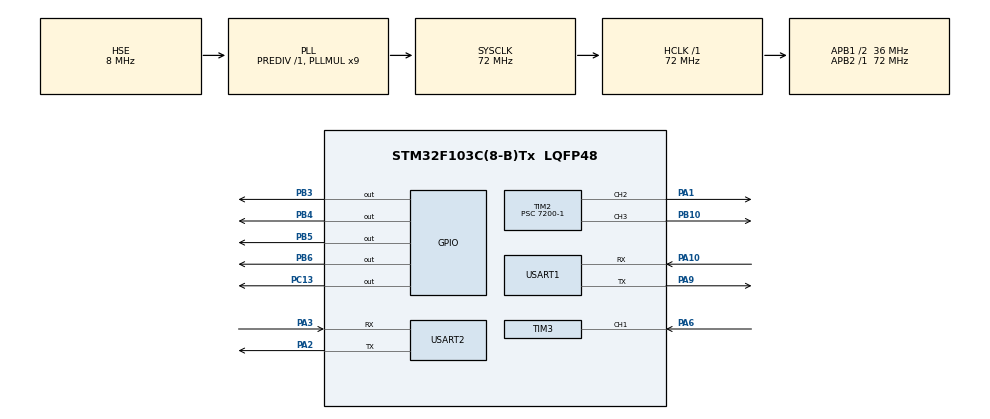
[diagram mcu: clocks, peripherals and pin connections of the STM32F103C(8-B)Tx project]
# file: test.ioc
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Dma.Request0=USART1_TX
Dma.Request1=USART1_RX
Dma.Request2=USART2_RX
Dma.Request3=USART2_TX
Dma.USART1_RX.1.Direction=DMA_PERIPH_TO_MEMORY
Dma.USART1_RX.1.Instance=DMA1_Channel5
Dma.USART1_RX.1.MemDataAlignment=DMA_MDATAALIGN_BYTE
Dma.USART1_RX.1.MemInc=DMA_MINC_ENABLE
Dma.USART1_RX.1.Mode=DMA_NORMAL
Dma.USART1_RX.1.PeriphDataAlignment=DMA_PDATAALIGN_BYTE
Dma.USART1_RX.1.PeriphInc=DMA_PINC_DISABLE
Dma.USART1_RX.1.Priority=DMA_PRIORITY_LOW
Dma.USART1_TX.0.Direction=DMA_MEMORY_TO_PERIPH
Dma.USART1_TX.0.Instance=DMA1_Channel4
Dma.USART1_TX.0.MemDataAlignment=DMA_MDATAALIGN_BYTE
Dma.USART1_TX.0.MemInc=DMA_MINC_ENABLE
Dma.USART1_TX.0.Mode=DMA_NORMAL
Dma.USART1_TX.0.PeriphDataAlignment=DMA_PDATAALIGN_BYTE
Dma.USART1_TX.0.PeriphInc=DMA_PINC_DISABLE
Dma.USART1_TX.0.Priority=DMA_PRIORITY_LOW
Dma.USART2_RX.2.Direction=DMA_PERIPH_TO_MEMORY
Dma.USART2_RX.2.Instance=DMA1_Channel6
Dma.USART2_RX.2.MemDataAlignment=DMA_MDATAALIGN_BYTE
Dma.USART2_RX.2.MemInc=DMA_MINC_ENABLE
Dma.USART2_RX.2.Mode=DMA_NORMAL
Dma.USART2_RX.2.PeriphDataAlignment=DMA_PDATAALIGN_BYTE
Dma.USART2_RX.2.PeriphInc=DMA_PINC_DISABLE
Dma.USART2_RX.2.Priority=DMA_PRIORITY_LOW
Dma.USART2_TX.3.Direction=DMA_MEMORY_TO_PERIPH
Dma.USART2_TX.3.Instance=DMA1_Channel7
Dma.USART2_TX.3.MemDataAlignment=DMA_MDATAALIGN_BYTE
Dma.USART2_TX.3.MemInc=DMA_MINC_ENABLE
Dma.USART2_TX.3.Mode=DMA_NORMAL
Dma.USART2_TX.3.PeriphDataAlignment=DMA_PDATAALIGN_BYTE
Dma.USART2_TX.3.PeriphInc=DMA_PINC_DISABLE
Dma.USART2_TX.3.Priority=DMA_PRIORITY_LOW
Mcu.Family=STM32F1
Mcu.Name=STM32F103C(8-B)Tx
Mcu.Package=LQFP48
NVIC.DMA1_Channel4_IRQn=true\:0\:0\:false\:false\:true\:false\:true
NVIC.DMA1_Channel5_IRQn=true\:0\:0\:false\:false\:true\:false\:true
NVIC.DMA1_Channel6_IRQn=true\:0\:0\:false\:false\:true\:false\:true
NVIC.DMA1_Channel7_IRQn=true\:0\:0\:false\:false\:true\:false\:true
NVIC.PriorityGroup=NVIC_PRIORITYGROUP_4
NVIC.TIM3_IRQn=true\:0\:0\:false\:false\:true\:true\:true
NVIC.USART1_IRQn=true\:0\:0\:false\:false\:true\:true\:true
NVIC.USART2_IRQn=true\:0\:0\:false\:false\:true\:true\:true
PA1.Signal=S_TIM2_CH2
PA10.Mode=Asynchronous
PA10.Signal=USART1_RX
PA13.Mode=Serial_Wire
PA13.Signal=SYS_JTMS-SWDIO
PA14.Mode=Serial_Wire
PA14.Signal=SYS_JTCK-SWCLK
PA2.Mode=Asynchronous
PA2.Signal=USART2_TX
PA3.Mode=Asynchronous
PA3.Signal=USART2_RX
PA6.Signal=S_TIM3_CH1
PA9.Mode=Asynchronous
PA9.Signal=USART1_TX
PB10.Signal=S_TIM2_CH3
PB3.PinState=GPIO_PIN_SET
PB3.Signal=GPIO_Output
PB4.PinState=GPIO_PIN_SET
PB4.Signal=GPIO_Output
PB5.PinState=GPIO_PIN_SET
PB5.Signal=GPIO_Output
PB6.PinState=GPIO_PIN_SET
PB6.Signal=GPIO_Output
PC13-TAMPER-RTC.Signal=GPIO_Output
PD0-OSC_IN.Mode=HSE-External-Oscillator
PD0-OSC_IN.Signal=RCC_OSC_IN
PD1-OSC_OUT.Mode=HSE-External-Oscillator
PD1-OSC_OUT.Signal=RCC_OSC_OUT
ProjectManager.HeapSize=0x200
ProjectManager.StackSize=0x400
ProjectManager.TargetToolchain=MDK-ARM V5.32
RCC.AHBFreq_Value=72000000
RCC.APB1CLKDivider=RCC_HCLK_DIV2
RCC.APB1Freq_Value=36000000
RCC.APB1TimFreq_Value=72000000
RCC.APB2Freq_Value=72000000
RCC.APB2TimFreq_Value=72000000
RCC.HCLKFreq_Value=72000000
RCC.PLLMUL=RCC_PLL_MUL9
RCC.PLLSourceVirtual=RCC_PLLSOURCE_HSE
RCC.SYSCLKFreq_VALUE=72000000
RCC.SYSCLKSource=RCC_SYSCLKSOURCE_PLLCLK
RCC.USBFreq_Value=72000000
SH.S_TIM2_CH2.0=TIM2_CH2,PWM Generation2 CH2
SH.S_TIM2_CH3.0=TIM2_CH3,PWM Generation3 CH3
SH.S_TIM3_CH1.0=TIM3_CH1,Input_Capture1_from_TI1
TIM2.AutoReloadPreload=TIM_AUTORELOAD_PRELOAD_ENABLE
TIM2.Channel-PWM\ Generation2\ CH2=TIM_CHANNEL_2
TIM2.Channel-PWM\ Generation3\ CH3=TIM_CHANNEL_3
TIM2.Period=50
TIM2.Prescaler=7200-1
TIM2.Pulse-PWM\ Generation3\ CH3=0
TIM3.AutoReloadPreload=TIM_AUTORELOAD_PRELOAD_ENABLE
TIM3.Channel-Input_Capture1_from_TI1=TIM_CHANNEL_1
TIM3.ICFilter_CH1=0x03
TIM3.Period=0xFFFF
TIM3.Prescaler=72-1
USART1.VirtualMode=VM_ASYNC
USART2.VirtualMode=VM_ASYNC
VP_TIM2_VS_ClockSourceINT.Mode=Internal
VP_TIM3_VS_ClockSourceINT.Mode=Internal
board=custom

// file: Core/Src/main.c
/* USER CODE BEGIN Header */
/**
  ******************************************************************************
  * @file           : main.c
  * @brief          : Main program body
  ******************************************************************************
  * @attention
  *
  * <h2><center>&copy; Copyright (c) 2022 STMicroelectronics.
  * All rights reserved.</center></h2>
  *
  * This software component is licensed by ST under BSD 3-Clause license,
  * the "License"; You may not use this file except in compliance with the
  * License. You may obtain a copy of the License at:
  *                        opensource.org/licenses/BSD-3-Clause
  *
  ******************************************************************************
  */
/* USER CODE END Header */
#include "main.h"
#include "dma.h"
#include "tim.h"
#include "usart.h"
#include "gpio.h"

/* USER CODE BEGIN Includes */
#include "stdio.h"
#include "stdlib.h"
#include "string.h"
#include "car.h"
#include "cmd.h"
#include "esp.h"
#include "ir.h"
/* USER CODE END Includes */

/* USER CODE BEGIN PTD */

#define REMOTE_ID 0

/* USER CODE END PTD */

/* USER CODE BEGIN PV */
	uint8_t uart2_rx[]={0};
	uint8_t value1[100]={0};

	uint32_t temp = 0;//用于接收数据

	uint16_t i =0;
/* USER CODE END PV */

void SystemClock_Config(void);

/* USER CODE BEGIN 0 */
void uartcall(void);
uint8_t Remote_Scan(void);

//void Usart_Cont1(void);
/* USER CODE END 0 */

int main(void)
{

  /* MCU Configuration--------------------------------------------------------*/

  /* Reset of all peripherals, Initializes the Flash interface and the Systick. */
  HAL_Init();

  /* Configure the system clock */
  SystemClock_Config();

  /* Initialize all configured peripherals */
  MX_GPIO_Init();
  MX_USART1_UART_Init();
  MX_TIM2_Init();
  MX_DMA_Init();
  MX_USART2_UART_Init();
  MX_TIM3_Init();
  /* USER CODE BEGIN 2 */
  //HAL_UART_Transmit(&huart1,(uint8_t *)"hello",6,1000);
	//HAL_UART_Transmit(&huart2,(uint8_t *)"hello",6,1000);
	printf("STM32rebotcar");

	HAL_TIM_PWM_Start(&htim2, TIM_CHANNEL_2);
	HAL_TIM_PWM_Start(&htim2, TIM_CHANNEL_3);
	HAL_GPIO_TogglePin(GPIOC,GPIO_PIN_13);

		HAL_TIM_Base_Start_IT(&htim3);
	HAL_TIM_IC_Start_IT(&htim3,TIM_CHANNEL_1);
	__HAL_TIM_ENABLE_IT(&htim3, TIM_IT_UPDATE);

	__HAL_UART_ENABLE_IT(&huart1, UART_IT_IDLE);
	HAL_UART_Receive_DMA(&huart1,uart1_rx_buffer,BUFFER_SIZE);

	__HAL_UART_ENABLE_IT(&huart2, UART_IT_IDLE);
	HAL_UART_Receive_DMA(&huart2,uart2_rx_buffer,BUFFER_SIZE);

				int pwm_val=1000;

  /* USER CODE END 2 */

  /* Infinite loop */
  while (1)
  {

    /* USER CODE BEGIN 3 */

		if (IR_Scanf(&temp))
		{
			printf("%#X\r\n", temp);
		}
		switch(temp)	{
			case ir1:
				MotorControl(3,1000,1000);
				temp=0;
			break;

			case ir2:
				MotorControl(0,1000,1000);
			temp=0;
			break;

			case ir3:
				MotorControl(2,1000,1000);
			temp=0;
			break;

			case ir5:
				MotorControl(4,1000,1000);
			temp=0;
			break;

			case ir7:
				MotorControl(5,1000,1000);
			temp=0;
			break;

			case ir8:
				MotorControl(1,1000,1000);
			temp=0;
			break;

			case ir9:
				MotorControl(6,1000,1000);
			temp=0;
			break;

			case ir4:
        pwm_val=pwm_val-100;
				MotorControl(2,pwm_val,pwm_val);
			temp=0;
			break;
			case ir6:
        pwm_val=pwm_val+100;
				MotorControl(3,pwm_val,pwm_val);
			temp=0;
			break;
			default:
				break;
		}

	/*

		for(i=0;i<1;i++)
	{
		while(!(USART1->SR & (1<<5))){};
		value1[i]=USART1->DR;
	}
			printf("%s",value1);
      if(value1[0] == 0x67)																//g
      {
								HAL_GPIO_TogglePin(GPIOC,GPIO_PIN_13);
				MotorControl(0,1000,1000);
			}
			else if(value1[0] == 0x62)									//b
       {
								HAL_GPIO_TogglePin(GPIOC,GPIO_PIN_13);
					MotorControl(1,1000,1000);
        }
       else if(value1[0] == 0x72)									//r
       {				HAL_GPIO_TogglePin(GPIOC,GPIO_PIN_13);
					MotorControl(2,1000,1000);
        }
			 else if(value1[0] == 0x6c)									//l
       {				HAL_GPIO_TogglePin(GPIOC,GPIO_PIN_13);
					MotorControl(3,1000,1000);
        }
			 else if(value1[0] == 0x73)									//s
       {				HAL_GPIO_TogglePin(GPIOC,GPIO_PIN_13);
					MotorControl(4,0,0);
        }
			 memset(value1, 0, sizeof(value1));
 */

	}

  /* USER CODE END 3 */
}

void SystemClock_Config(void)
{
  RCC_OscInitTypeDef RCC_OscInitStruct = {0};
  RCC_ClkInitTypeDef RCC_ClkInitStruct = {0};

  /** Initializes the RCC Oscillators according to the specified parameters
  * in the RCC_OscInitTypeDef structure.
  */
  RCC_OscInitStruct.OscillatorType = RCC_OSCILLATORTYPE_HSE;
  RCC_OscInitStruct.HSEState = RCC_HSE_ON;
  RCC_OscInitStruct.HSEPredivValue = RCC_HSE_PREDIV_DIV1;
  RCC_OscInitStruct.HSIState = RCC_HSI_ON;
  RCC_OscInitStruct.PLL.PLLState = RCC_PLL_ON;
  RCC_OscInitStruct.PLL.PLLSource = RCC_PLLSOURCE_HSE;
  RCC_OscInitStruct.PLL.PLLMUL = RCC_PLL_MUL9;
  if (HAL_RCC_OscConfig(&RCC_OscInitStruct) != HAL_OK)
  {
    Error_Handler();
  }
  /** Initializes the CPU, AHB and APB buses clocks
  */
  RCC_ClkInitStruct.ClockType = RCC_CLOCKTYPE_HCLK|RCC_CLOCKTYPE_SYSCLK
                              |RCC_CLOCKTYPE_PCLK1|RCC_CLOCKTYPE_PCLK2;
  RCC_ClkInitStruct.SYSCLKSource = RCC_SYSCLKSOURCE_PLLCLK;
  RCC_ClkInitStruct.AHBCLKDivider = RCC_SYSCLK_DIV1;
  RCC_ClkInitStruct.APB1CLKDivider = RCC_HCLK_DIV2;
  RCC_ClkInitStruct.APB2CLKDivider = RCC_HCLK_DIV1;

  if (HAL_RCC_ClockConfig(&RCC_ClkInitStruct, FLASH_LATENCY_2) != HAL_OK)
  {
    Error_Handler();
  }
}

/* USER CODE BEGIN 4 */
/*void uartcall()
{
	uint8_t value1[3]={0};
	uint8_t i;
	for(i=0;i<2;i++)
	{
		while(!(USART1->SR & (1<<5))){};
		value1[i]=USART1->DR;
	}
	value1[2]='\0';
	if(!(strcmp((const char *)value1,"go")))
	{
			MotorControl(0,200,200);
	}
	else if(!(strcmp((const char *)value1,"bk")))
	{
			MotorControl(1,200,200);
	}
		else if(!(strcmp((const char *)value1,"rg")))
	{
			MotorControl(2,200,0);
	}
		else if(!(strcmp((const char *)value1,"lg")))
	{
			MotorControl(3,0,200);
	}
	else if(!(strcmp((const char *)value1,"st")))
	{
			MotorControl(4,0,0);
	}
}
*/
void HAL_TIM_IC_CaptureCallback(TIM_HandleTypeDef *htim)//捕获回调函数
{
	if (TIM3 == htim->Instance)
	{
		IR_CaptureCallback();
	}
}

/*void HAL_UART_RxCpltCallback(UART_HandleTypeDef *huart)
{
	HAL_UART_Transmit(&huart1, uart2_rx,sizeof( uart2_rx),100);
	HAL_UART_Receive_IT(&huart2, uart2_rx,sizeof( uart2_rx));
}*/

/* USER CODE END 4 */

void Error_Handler(void)
{
  __disable_irq();
  while (1)
  {
  }
}

/************************ (C) COPYRIGHT STMicroelectronics *****END OF FILE****/
